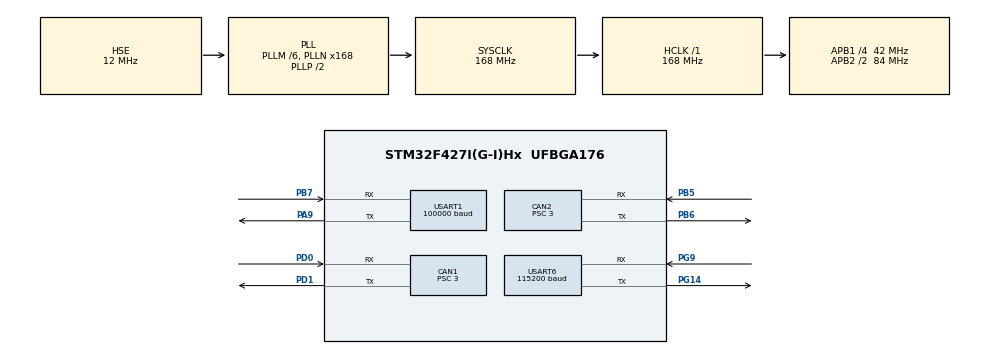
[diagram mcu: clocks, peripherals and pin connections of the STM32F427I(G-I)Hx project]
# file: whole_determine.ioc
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CAN1.BS1=CAN_BS1_10TQ
CAN1.BS2=CAN_BS2_3TQ
CAN1.CalculateBaudRate=1000000
CAN1.CalculateTimeBit=999.99
CAN1.CalculateTimeQuantum=71.42857142857143
CAN1.Prescaler=3
CAN2.BS1=CAN_BS1_10TQ
CAN2.BS2=CAN_BS2_3TQ
CAN2.CalculateBaudRate=1000000
CAN2.CalculateTimeBit=999.99
CAN2.CalculateTimeQuantum=71.42857142857143
CAN2.Prescaler=3
Dma.Request0=USART1_RX
Dma.Request1=USART6_TX
Dma.USART1_RX.0.Direction=DMA_PERIPH_TO_MEMORY
Dma.USART1_RX.0.FIFOMode=DMA_FIFOMODE_DISABLE
Dma.USART1_RX.0.Instance=DMA2_Stream2
Dma.USART1_RX.0.MemDataAlignment=DMA_MDATAALIGN_BYTE
Dma.USART1_RX.0.MemInc=DMA_MINC_ENABLE
Dma.USART1_RX.0.Mode=DMA_NORMAL
Dma.USART1_RX.0.PeriphDataAlignment=DMA_PDATAALIGN_BYTE
Dma.USART1_RX.0.PeriphInc=DMA_PINC_DISABLE
Dma.USART1_RX.0.Priority=DMA_PRIORITY_VERY_HIGH
Dma.USART6_TX.1.Direction=DMA_MEMORY_TO_PERIPH
Dma.USART6_TX.1.FIFOMode=DMA_FIFOMODE_DISABLE
Dma.USART6_TX.1.Instance=DMA2_Stream6
Dma.USART6_TX.1.MemDataAlignment=DMA_MDATAALIGN_BYTE
Dma.USART6_TX.1.MemInc=DMA_MINC_ENABLE
Dma.USART6_TX.1.Mode=DMA_NORMAL
Dma.USART6_TX.1.PeriphDataAlignment=DMA_PDATAALIGN_BYTE
Dma.USART6_TX.1.PeriphInc=DMA_PINC_DISABLE
Dma.USART6_TX.1.Priority=DMA_PRIORITY_VERY_HIGH
Mcu.Family=STM32F4
Mcu.Name=STM32F427I(G-I)Hx
Mcu.Package=UFBGA176
NVIC.CAN1_RX0_IRQn=true\:0\:0\:false\:false\:true\:true\:true
NVIC.CAN2_RX0_IRQn=true\:0\:0\:false\:false\:true\:true\:true
NVIC.DMA2_Stream2_IRQn=true\:0\:0\:false\:false\:true\:false\:true
NVIC.DMA2_Stream6_IRQn=true\:0\:0\:false\:false\:true\:false\:true
NVIC.PriorityGroup=NVIC_PRIORITYGROUP_4
NVIC.USART1_IRQn=true\:0\:0\:false\:false\:true\:true\:true
NVIC.USART6_IRQn=true\:0\:0\:false\:false\:true\:true\:true
PA13.Mode=Serial_Wire
PA13.Signal=SYS_JTMS-SWDIO
PA14.Mode=Serial_Wire
PA14.Signal=SYS_JTCK-SWCLK
PA9.Mode=Asynchronous
PA9.Signal=USART1_TX
PB5.Mode=CAN_Activate
PB5.Signal=CAN2_RX
PB6.Mode=CAN_Activate
PB6.Signal=CAN2_TX
PB7.Mode=Asynchronous
PB7.Signal=USART1_RX
PD0.Mode=CAN_Activate
PD0.Signal=CAN1_RX
PD1.Mode=CAN_Activate
PD1.Signal=CAN1_TX
PG14.Mode=Asynchronous
PG14.Signal=USART6_TX
PG9.Mode=Asynchronous
PG9.Signal=USART6_RX
PH0/OSC_IN.Mode=HSE-External-Oscillator
PH0/OSC_IN.Signal=RCC_OSC_IN
PH1/OSC_OUT.Mode=HSE-External-Oscillator
PH1/OSC_OUT.Signal=RCC_OSC_OUT
ProjectManager.HeapSize=0x200
ProjectManager.StackSize=0x400
ProjectManager.TargetToolchain=MDK-ARM V5
RCC.48MHZClocksFreq_Value=84000000
RCC.AHBFreq_Value=168000000
RCC.APB1CLKDivider=RCC_HCLK_DIV4
RCC.APB1Freq_Value=42000000
RCC.APB1TimFreq_Value=84000000
RCC.APB2CLKDivider=RCC_HCLK_DIV2
RCC.APB2Freq_Value=84000000
RCC.APB2TimFreq_Value=168000000
RCC.CortexFreq_Value=168000000
RCC.HCLKFreq_Value=168000000
RCC.HSE_VALUE=12000000
RCC.HSI_VALUE=16000000
RCC.LSE_VALUE=32768
RCC.PLLM=6
RCC.PLLN=168
RCC.PLLSourceVirtual=RCC_PLLSOURCE_HSE
RCC.SYSCLKFreq_VALUE=168000000
RCC.SYSCLKSource=RCC_SYSCLKSOURCE_PLLCLK
RCC.VCOOutputFreq_Value=336000000
USART1.BaudRate=100000
USART1.VirtualMode=VM_ASYNC
USART6.BaudRate=115200
USART6.VirtualMode=VM_ASYNC
board=custom

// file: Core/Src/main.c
/* USER CODE BEGIN Header */
/**
  ******************************************************************************
  * @file           : main.c
  * @brief          : Main program body
  ******************************************************************************
  * @attention
  *
  * <h2><center>&copy; Copyright (c) 2023 STMicroelectronics.
  * All rights reserved.</center></h2>
  *
  * This software component is licensed by ST under BSD 3-Clause license,
  * the "License"; You may not use this file except in compliance with the
  * License. You may obtain a copy of the License at:
  *                        opensource.org/licenses/BSD-3-Clause
  *
  ******************************************************************************
  */
/* USER CODE END Header */
#include "main.h"
#include "can.h"
#include "dma.h"
#include "usart.h"
#include "gpio.h"

/* USER CODE BEGIN Includes */
#include "bsp_can.h"
#include "bsp_rc.h"
#include "bsp_usart.h"
#include "CAN_receive.h"
#include "remote_control.h"
#include <stdio.h>
#include <stdarg.h>
#include "string.h"
#include "pid.h"
#include "chassis_assign.h"
#define TARGET_a 1006

void usart_printf(const char *fmt,...)
{
 static uint8_t tx_buf[256] = {0};
 static va_list ap;
 static uint16_t len;
 va_start(ap, fmt);
 //return length of string
 //???????
 HAL_UART_Transmit(&huart6,tx_buf,len,100);
 len = vsprintf((char *)tx_buf, fmt, ap);
 va_end(ap);
 //usart1_tx_dma_enable(tx_buf, len);
}
/* USER CODE END Includes */

void SystemClock_Config(void);

int main(void)
{

  /* MCU Configuration--------------------------------------------------------*/

  /* Reset of all peripherals, Initializes the Flash interface and the Systick. */

  HAL_Init();

  /* Configure the system clock */
  SystemClock_Config();

  /* Initialize all configured peripherals */
  MX_GPIO_Init();
  MX_DMA_Init();
  MX_CAN1_Init();
  MX_CAN2_Init();
  MX_USART1_UART_Init();
  MX_USART6_UART_Init();
  /* USER CODE BEGIN 2 */
can_filter_init();
	remote_control_init();
	chassis_init();
  /* USER CODE END 2 */

  /* Infinite loop */
  /* USER CODE BEGIN WHILE */
  while (1)
  {
//		chassis_ctrl();
//			HAL_Delay(5);
		//CAN_cmd_chassis(500,0,0,0);
		//usart_printf("s\r\n");
		//HAL_UART_Transmit(&huart6, "RoboMaster\r\n", 12, 100);
		chassis_ctrl();
			HAL_Delay(5);

    /* USER CODE END WHILE */

  }
}

void SystemClock_Config(void)
{
  RCC_OscInitTypeDef RCC_OscInitStruct = {0};
  RCC_ClkInitTypeDef RCC_ClkInitStruct = {0};

  /** Configure the main internal regulator output voltage
  */
  __HAL_RCC_PWR_CLK_ENABLE();
  __HAL_PWR_VOLTAGESCALING_CONFIG(PWR_REGULATOR_VOLTAGE_SCALE1);
  /** Initializes the RCC Oscillators according to the specified parameters
  * in the RCC_OscInitTypeDef structure.
  */
  RCC_OscInitStruct.OscillatorType = RCC_OSCILLATORTYPE_HSE;
  RCC_OscInitStruct.HSEState = RCC_HSE_ON;
  RCC_OscInitStruct.PLL.PLLState = RCC_PLL_ON;
  RCC_OscInitStruct.PLL.PLLSource = RCC_PLLSOURCE_HSE;
  RCC_OscInitStruct.PLL.PLLM = 6;
  RCC_OscInitStruct.PLL.PLLN = 168;
  RCC_OscInitStruct.PLL.PLLP = RCC_PLLP_DIV2;
  RCC_OscInitStruct.PLL.PLLQ = 4;
  if (HAL_RCC_OscConfig(&RCC_OscInitStruct) != HAL_OK)
  {
    Error_Handler();
  }
  /** Initializes the CPU, AHB and APB buses clocks
  */
  RCC_ClkInitStruct.ClockType = RCC_CLOCKTYPE_HCLK|RCC_CLOCKTYPE_SYSCLK
                              |RCC_CLOCKTYPE_PCLK1|RCC_CLOCKTYPE_PCLK2;
  RCC_ClkInitStruct.SYSCLKSource = RCC_SYSCLKSOURCE_PLLCLK;
  RCC_ClkInitStruct.AHBCLKDivider = RCC_SYSCLK_DIV1;
  RCC_ClkInitStruct.APB1CLKDivider = RCC_HCLK_DIV4;
  RCC_ClkInitStruct.APB2CLKDivider = RCC_HCLK_DIV2;

  if (HAL_RCC_ClockConfig(&RCC_ClkInitStruct, FLASH_LATENCY_5) != HAL_OK)
  {
    Error_Handler();
  }
}

void Error_Handler(void)
{
  __disable_irq();
  while (1)
  {
  }
}

/************************ (C) COPYRIGHT STMicroelectronics *****END OF FILE****/
